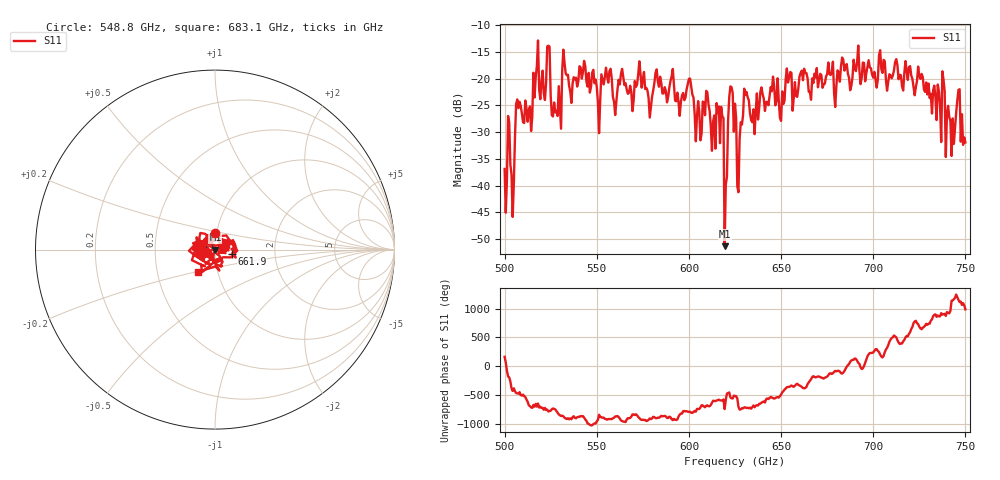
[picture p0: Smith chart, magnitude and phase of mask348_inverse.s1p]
!Created with skrf (http://scikit-rf.org).
# GHz S MA R 50.0
!freq magS11 angS11
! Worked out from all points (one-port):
!   401 points, 500 GHz to 750 GHz, reference 50 ohm
!   lowest |S11| = -51.3 dB at 619.4 GHz (marker M1), VSWR 1.01, Z = 50.3 - j0.102 ohm
!   |S11| at or under -10 dB: start of sweep to end of sweep
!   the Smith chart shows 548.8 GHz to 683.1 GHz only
!   S11 on the Smith chart (normalised r, x): 548.8 GHz: 0.99, +0.18; 661.9 GHz: 1.20, -0.06; 683.1 GHz: 0.80, -0.21
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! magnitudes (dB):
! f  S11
! 500 GHz  -36.9
! 502.5 GHz  -28.2
! 504.4 GHz  -45.8
! 507.5 GHz  -25.5
! 513.8 GHz  -25.2
! 516.9 GHz  -19.7
! 523.8 GHz  -13.8
! 526.9 GHz  -24.5
! 531.2 GHz  -18.5
! 548.8 GHz  -20.9
! 562.5 GHz  -21.1
! 593.8 GHz  -22.6
! 616.2 GHz  -25.2
! 619.4 GHz  -51.3
! 620.6 GHz  -38.4
! 622.5 GHz  -21.4
! 625 GHz  -24.7
! 627.5 GHz  -31.2
! 631.2 GHz  -22.5
! 634.4 GHz  -28.1
! 656.2 GHz  -26.0
! 661.9 GHz  -20.3
! 683.1 GHz  -16.0
! 687.5 GHz  -22.2
! 718.8 GHz  -20.2
! 743.1 GHz  -27.4
! 745.6 GHz  -24.0
! 750 GHz  -31.9
